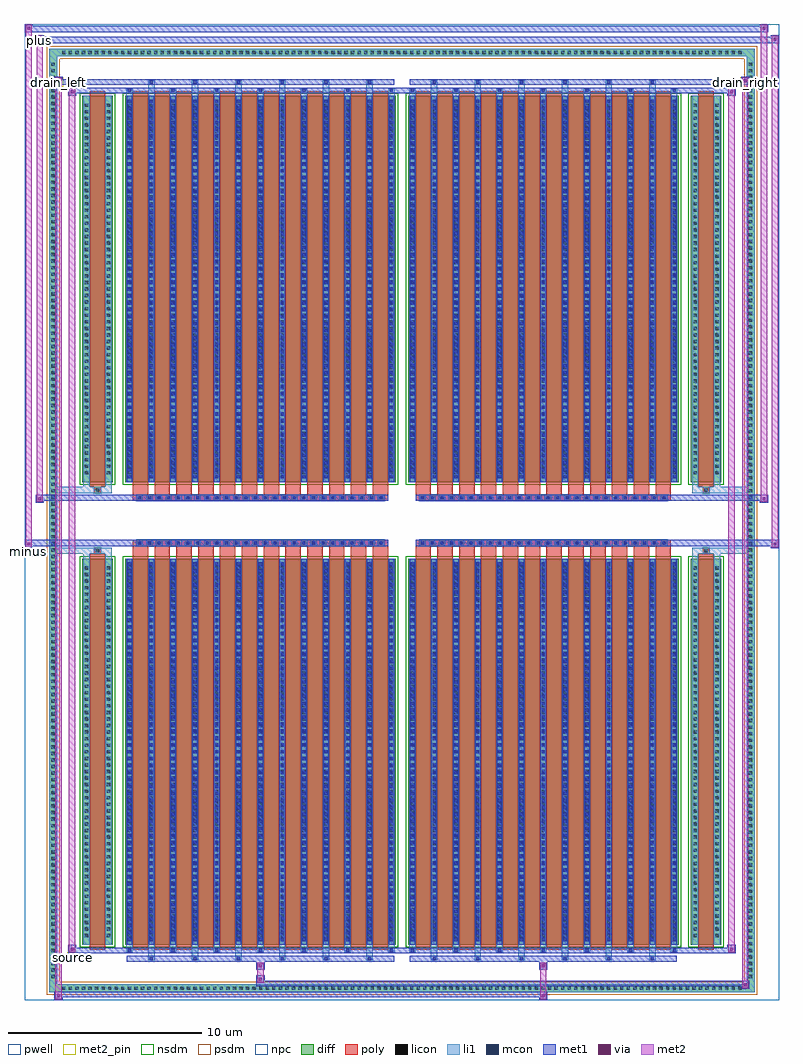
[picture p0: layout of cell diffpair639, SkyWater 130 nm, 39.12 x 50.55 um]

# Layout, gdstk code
import gdstk
lib = gdstk.Library(unit=1e-6, precision=5e-09)
def R(c, l, rs):  # rectangles x0, y0, x1, y1
    for r in rs: c.add(gdstk.rectangle(r[:2], r[2:], *l))
def A(c, l, x, y, w, h, nx, ny, dx, dy):  # array of equal rectangles
    R(c, l, [(x+i*dx, y+j*dy, x+i*dx+w, y+j*dy+h) for i in range(nx) for j in range(ny)])
def P(c, l, *ps):  # polygons
    for p in ps: c.add(gdstk.Polygon(p, *l))
pwell = (64, 44)
diff = (65, 20)
poly = (66, 20)
licon = (66, 44)
li1 = (67, 20)
mcon = (67, 44)
met1 = (68, 20)
via = (68, 44)
met2_pin = (69, 16)
met2 = (69, 20)
nsdm = (93, 44)
psdm = (94, 20)
npc = (95, 20)

diffpair639 = lib.new_cell('diffpair639')
R(diffpair639, pwell, [(-19.54,-24.84,19.54,25.71), (-16.86,-23.03,-0.01,-0.805), (0.01,-23.03,16.86,-0.805), (-16.86,0.805,-0.01,23.03), (0.01,0.805,16.86,23.03)])
A(diffpair639, diff, -17.715, -24.44, 0.41, 0.41, 104, 2, 0.34, 48.47)
A(diffpair639, diff, -18.27, -23.835, 0.41, 0.41, 1, 140, 0, 0.34)
A(diffpair639, diff, 17.86, -23.835, 0.41, 0.41, 1, 140, 0, 0.34)
R(diffpair639, diff, [(-17.715,-24.44,17.715,-24.03), (-18.27,-23.835,-17.86,23.835), (17.86,-23.835,18.27,23.835), (-16.55,-21.985,-14.97,-1.985), (-14.33,-21.985,-0.32,-1.985), (0.32,-21.985,14.33,-1.985), (14.97,-21.985,16.55,-1.985), (-16.55,1.985,-14.97,21.985), (-14.33,1.985,-0.32,21.985), (0.32,1.985,14.33,21.985), (14.97,1.985,16.55,21.985), (-17.715,24.03,17.715,24.44)])
P(diffpair639, diff, [(18.27,24.44),(-18.27,24.44),(-18.27,-24.03),(-17.86,-24.03),(-17.86,24.03),(17.86,24.03),(17.86,-24.03),(-17.86,-24.03),(-18.27,-24.03),(-18.27,-24.44),(18.27,-24.44)])
A(diffpair639, poly, -13.94, -22.235, 0.8, 20.5, 12, 2, 1.13, 23.97)
A(diffpair639, poly, 0.71, -22.235, 0.8, 20.5, 12, 2, 1.13, 23.97)
A(diffpair639, poly, -13.94, -1.735, 0.8, 0.4, 12, 2, 1.13, 3.07)
A(diffpair639, poly, 0.71, -1.735, 0.8, 0.4, 12, 2, 1.13, 3.07)
A(diffpair639, poly, -13.74, -1.335, 0.33, 0.33, 26, 2, 0.5, 2.34)
A(diffpair639, poly, 0.91, -1.335, 0.33, 0.33, 26, 2, 0.5, 2.34)
R(diffpair639, poly, [(-16.16,-22.235,-15.36,-1.735), (15.36,-22.235,16.16,-1.735), (-15.925,-1.735,-15.595,-1.405), (-15.925,-1.735,-15.595,-1.405), (15.595,-1.735,15.925,-1.405), (15.595,-1.735,15.925,-1.405), (-13.94,-1.335,-0.71,-1.005), (0.71,-1.335,13.94,-1.005), (-13.94,1.005,-0.71,1.335), (0.71,1.005,13.94,1.335), (-15.925,1.405,-15.595,1.735), (-15.925,1.405,-15.595,1.735), (15.595,1.405,15.925,1.735), (15.595,1.405,15.925,1.735), (-16.16,1.735,-15.36,22.235), (15.36,1.735,16.16,22.235)])
A(diffpair639, licon, -17.595, -24.32, 0.17, 0.17, 104, 2, 0.34, 48.47)
A(diffpair639, licon, -18.15, -23.715, 0.17, 0.17, 1, 140, 0, 0.34)
A(diffpair639, licon, 17.98, -23.715, 0.17, 0.17, 1, 140, 0, 0.34)
A(diffpair639, licon, -16.41, -21.59, 0.17, 0.17, 1, 57, 0, 0.34)
A(diffpair639, licon, -15.28, -21.59, 0.17, 0.17, 1, 57, 0, 0.34)
A(diffpair639, licon, -14.19, -21.59, 0.17, 0.17, 13, 57, 1.13, 0.34)
A(diffpair639, licon, 0.46, -21.59, 0.17, 0.17, 13, 57, 1.13, 0.34)
A(diffpair639, licon, 15.11, -21.59, 0.17, 0.17, 1, 57, 0, 0.34)
A(diffpair639, licon, 16.24, -21.59, 0.17, 0.17, 1, 57, 0, 0.34)
A(diffpair639, licon, -13.66, -1.255, 0.17, 0.17, 26, 2, 0.5, 2.34)
A(diffpair639, licon, 0.99, -1.255, 0.17, 0.17, 26, 2, 0.5, 2.34)
A(diffpair639, licon, -16.41, 2.38, 0.17, 0.17, 1, 57, 0, 0.34)
A(diffpair639, licon, -15.28, 2.38, 0.17, 0.17, 1, 57, 0, 0.34)
A(diffpair639, licon, -14.19, 2.38, 0.17, 0.17, 13, 57, 1.13, 0.34)
A(diffpair639, licon, 0.46, 2.38, 0.17, 0.17, 13, 57, 1.13, 0.34)
A(diffpair639, licon, 15.11, 2.38, 0.17, 0.17, 1, 57, 0, 0.34)
A(diffpair639, licon, 16.24, 2.38, 0.17, 0.17, 1, 57, 0, 0.34)
R(diffpair639, licon, [(-15.845,-1.655,-15.675,-1.485), (15.675,-1.655,15.845,-1.485), (-15.845,1.485,-15.675,1.655), (15.675,1.485,15.845,1.655)])
A(diffpair639, li1, -17.675, -24.4, 0.33, 0.33, 104, 2, 0.34, 48.47)
A(diffpair639, li1, -18.23, -23.795, 0.33, 0.33, 1, 140, 0, 0.34)
A(diffpair639, li1, 17.9, -23.795, 0.33, 0.33, 1, 140, 0, 0.34)
A(diffpair639, li1, -13.14, -22.79, 0.33, 0.805, 6, 2, 2.26, 44.775)
A(diffpair639, li1, -13.06, -22.79, 0.17, 0.17, 6, 2, 2.26, 45.41)
A(diffpair639, li1, 1.51, -22.79, 0.33, 0.805, 6, 2, 2.26, 44.775)
A(diffpair639, li1, 1.59, -22.79, 0.17, 0.17, 6, 2, 2.26, 45.41)
A(diffpair639, li1, -14.27, -22.36, 0.33, 0.375, 7, 2, 2.26, 44.345)
A(diffpair639, li1, -14.19, -22.36, 0.17, 0.17, 7, 2, 2.26, 44.55)
A(diffpair639, li1, 0.38, -22.36, 0.33, 0.375, 7, 2, 2.26, 44.345)
A(diffpair639, li1, 0.46, -22.36, 0.17, 0.17, 7, 2, 2.26, 44.55)
A(diffpair639, li1, -14.27, -21.985, 0.33, 20, 13, 2, 1.13, 23.97)
A(diffpair639, li1, 0.38, -21.985, 0.33, 20, 13, 2, 1.13, 23.97)
A(diffpair639, li1, -14.19, -21.79, 0.17, 0.17, 13, 55, 1.13, 0.36)
A(diffpair639, li1, -14.19, -21.79, 0.17, 19.61, 13, 2, 1.13, 23.97)
A(diffpair639, li1, 0.46, -21.79, 0.17, 0.17, 13, 55, 1.13, 0.36)
A(diffpair639, li1, 0.46, -21.79, 0.17, 19.61, 13, 2, 1.13, 23.97)
A(diffpair639, li1, -16.49, -21.67, 0.33, 0.33, 1, 57, 0, 0.34)
A(diffpair639, li1, -15.36, -21.67, 0.33, 0.33, 1, 57, 0, 0.34)
A(diffpair639, li1, -14.27, -21.67, 0.33, 0.33, 13, 57, 1.13, 0.34)
A(diffpair639, li1, 0.38, -21.67, 0.33, 0.33, 13, 57, 1.13, 0.34)
A(diffpair639, li1, 15.03, -21.67, 0.33, 0.33, 1, 57, 0, 0.34)
A(diffpair639, li1, 16.16, -21.67, 0.33, 0.33, 1, 57, 0, 0.34)
A(diffpair639, li1, -13.74, -1.335, 0.33, 0.33, 26, 2, 0.5, 2.34)
A(diffpair639, li1, 0.91, -1.335, 0.33, 0.33, 26, 2, 0.5, 2.34)
A(diffpair639, li1, -14.19, 2.18, 0.17, 0.17, 13, 55, 1.13, 0.36)
A(diffpair639, li1, 0.46, 2.18, 0.17, 0.17, 13, 55, 1.13, 0.36)
A(diffpair639, li1, -16.49, 2.3, 0.33, 0.33, 1, 57, 0, 0.34)
A(diffpair639, li1, -15.36, 2.3, 0.33, 0.33, 1, 57, 0, 0.34)
A(diffpair639, li1, -14.27, 2.3, 0.33, 0.33, 13, 57, 1.13, 0.34)
A(diffpair639, li1, 0.38, 2.3, 0.33, 0.33, 13, 57, 1.13, 0.34)
A(diffpair639, li1, 15.03, 2.3, 0.33, 0.33, 1, 57, 0, 0.34)
A(diffpair639, li1, 16.16, 2.3, 0.33, 0.33, 1, 57, 0, 0.34)
R(diffpair639, li1, [(-18.27,-24.44,-17.86,-24.03), (-18.27,-24.44,-17.86,-24.03), (-17.86,-24.44,17.86,-24.03), (17.86,-24.44,18.27,-24.03), (17.86,-24.44,18.27,-24.03), (-18.27,-24.03,-17.86,24.03), (17.86,-24.03,18.27,24.03), (-16.49,-21.985,-16.16,-1.985), (-15.36,-21.985,-15.03,-1.985), (15.03,-21.985,15.36,-1.985), (16.16,-21.985,16.49,-1.985), (-16.49,-1.985,-16.16,-1.405), (-15.36,-1.985,-15.03,-1.405), (15.03,-1.985,15.36,-1.405), (16.16,-1.985,16.49,-1.405), (-18.27,-1.735,-15.925,-1.405), (-16.49,-1.735,-15.925,-1.405), (-15.925,-1.735,-15.595,-1.405), (-15.595,-1.735,-15.03,-1.405), (15.03,-1.735,15.595,-1.405), (15.595,-1.735,15.925,-1.405), (15.595,-1.735,18.27,-1.405), (15.925,-1.735,16.49,-1.405), (-18.27,1.405,-15.925,1.735), (-16.49,1.405,-15.925,1.735), (-16.49,1.405,-16.16,1.985), (-15.925,1.405,-15.595,1.735), (-15.595,1.405,-15.03,1.735), (-15.36,1.405,-15.03,1.985), (15.03,1.405,15.595,1.735), (15.03,1.405,15.36,1.985), (15.595,1.405,15.925,1.735), (15.595,1.405,18.27,1.735), (15.925,1.405,16.49,1.735), (16.16,1.405,16.49,1.985), (-16.49,1.985,-16.16,21.985), (-15.36,1.985,-15.03,21.985), (15.03,1.985,15.36,21.985), (16.16,1.985,16.49,21.985), (-18.27,24.03,-17.86,24.44), (-18.27,24.03,-17.86,24.44), (-17.86,24.03,17.86,24.44), (17.86,24.03,18.27,24.44), (17.86,24.03,18.27,24.44)])
A(diffpair639, mcon, -13.06, -22.79, 0.17, 0.17, 6, 2, 2.26, 45.41)
A(diffpair639, mcon, 1.59, -22.79, 0.17, 0.17, 6, 2, 2.26, 45.41)
A(diffpair639, mcon, -14.19, -22.36, 0.17, 0.17, 7, 2, 2.26, 44.55)
A(diffpair639, mcon, 0.46, -22.36, 0.17, 0.17, 7, 2, 2.26, 44.55)
A(diffpair639, mcon, -14.19, -21.79, 0.17, 0.17, 13, 55, 1.13, 0.36)
A(diffpair639, mcon, 0.46, -21.79, 0.17, 0.17, 13, 55, 1.13, 0.36)
A(diffpair639, mcon, -13.66, -1.255, 0.17, 0.17, 26, 2, 0.5, 2.34)
A(diffpair639, mcon, 0.99, -1.255, 0.17, 0.17, 26, 2, 0.5, 2.34)
A(diffpair639, mcon, -14.19, 2.18, 0.17, 0.17, 13, 55, 1.13, 0.36)
A(diffpair639, mcon, 0.46, 2.18, 0.17, 0.17, 13, 55, 1.13, 0.36)
A(diffpair639, met1, -13.12, -22.85, 0.29, 0.29, 6, 2, 2.26, 45.41)
A(diffpair639, met1, 1.53, -22.85, 0.29, 0.29, 6, 2, 2.26, 45.41)
A(diffpair639, met1, -14.25, -22.42, 0.29, 0.29, 7, 2, 2.26, 44.55)
A(diffpair639, met1, 0.4, -22.42, 0.29, 0.29, 7, 2, 2.26, 44.55)
A(diffpair639, met1, -14.25, -21.985, 0.29, 20, 13, 2, 1.13, 23.97)
A(diffpair639, met1, 0.4, -21.985, 0.29, 20, 13, 2, 1.13, 23.97)
A(diffpair639, met1, -14.25, -21.85, 0.29, 0.29, 13, 55, 1.13, 0.36)
A(diffpair639, met1, 0.4, -21.85, 0.29, 0.29, 13, 55, 1.13, 0.36)
A(diffpair639, met1, -13.72, -1.315, 0.29, 0.29, 26, 2, 0.5, 2.34)
A(diffpair639, met1, 0.93, -1.315, 0.29, 0.29, 26, 2, 0.5, 2.34)
A(diffpair639, met1, -14.25, 2.12, 0.29, 0.29, 13, 55, 1.13, 0.36)
A(diffpair639, met1, 0.4, 2.12, 0.29, 0.29, 13, 55, 1.13, 0.36)
R(diffpair639, met1, [(-18,-24.84,-17.57,-24.41), (7.11,-24.84,7.54,-24.41), (-18,-24.7,7.54,-24.41), (17.57,-24.27,18,-23.84), (-7.54,-24.13,18,-23.84), (-7.54,-23.99,-7.11,-23.56), (-7.54,-23.28,-7.11,-22.85), (7.11,-23.28,7.54,-22.85), (-14.25,-22.85,-0.4,-22.56), (0.4,-22.85,14.25,-22.56), (-17.29,-22.42,-16.86,-21.99), (-17.29,-22.42,-14.25,-22.13), (-14.25,-22.42,-0.4,-22.13), (-0.4,-22.42,0.4,-22.13), (0.4,-22.42,14.25,-22.13), (14.25,-22.42,17.29,-22.13), (16.86,-22.42,17.29,-21.99), (-19.54,-1.435,-19.11,-1.005), (19.11,-1.435,19.54,-1.005), (-19.54,-1.335,-0.71,-1.005), (-13.94,-1.335,-0.71,-1.005), (0.71,-1.335,13.94,-1.005), (0.71,-1.335,19.54,-1.005), (-18.97,0.905,-18.54,1.335), (18.54,0.905,18.97,1.335), (-18.97,1.005,-13.94,1.335), (-13.94,1.005,-0.71,1.335), (0.71,1.005,13.94,1.335), (13.94,1.005,18.97,1.335), (-17.29,21.99,-16.86,22.42), (16.86,21.99,17.29,22.42), (-17.29,22.13,-14.25,22.42), (-14.25,22.13,-0.4,22.42), (-0.4,22.13,0.4,22.42), (0.4,22.13,14.25,22.42), (14.25,22.13,17.29,22.42), (-18,22.56,-17.57,22.99), (-18,22.56,-14.25,22.85), (-14.25,22.56,-0.4,22.85), (0.4,22.56,14.25,22.85), (14.25,22.56,18,22.85), (17.57,22.56,18,22.99), (-18.97,24.71,-18.54,25.14), (-18.97,24.71,-16.86,25.04), (-16.86,24.71,16.86,25.04), (16.86,24.71,19.54,25.04), (19.11,24.71,19.54,25.14), (-19.54,25.28,-19.11,25.71), (-19.54,25.28,-16.86,25.61), (-16.86,25.28,16.86,25.61), (16.86,25.28,18.97,25.61), (18.54,25.28,18.97,25.71)])
R(diffpair639, via, [(-17.86,-24.7,-17.71,-24.55), (7.25,-24.7,7.4,-24.55), (17.71,-24.13,17.86,-23.98), (-7.4,-23.85,-7.25,-23.7), (-7.4,-23.14,-7.25,-22.99), (7.25,-23.14,7.4,-22.99), (-17.15,-22.28,-17,-22.13), (17,-22.28,17.15,-22.13), (-19.4,-1.295,-19.25,-1.145), (19.25,-1.295,19.4,-1.145), (-18.83,1.045,-18.68,1.195), (18.68,1.045,18.83,1.195), (-17.15,22.13,-17,22.28), (17,22.13,17.15,22.28), (-17.86,22.7,-17.71,22.85), (17.71,22.7,17.86,22.85), (-18.83,24.85,-18.68,25), (19.25,24.85,19.4,25), (-19.4,25.42,-19.25,25.57), (18.68,25.42,18.83,25.57)])
R(diffpair639, met2_pin, [(-17.325,-22.87,-16.825,-22.37), (-19.575,-1.885,-19.075,-1.385), (-18.035,22.44,-17.535,22.94), (17.535,22.44,18.035,22.94), (-19.005,24.59,-18.505,25.09)])
R(diffpair639, met2, [(-17.95,-24.79,-17.62,-24.46), (-17.95,-24.79,-17.62,22.94), (7.16,-24.79,7.49,-24.46), (7.16,-24.46,7.49,-23.23), (17.62,-24.22,17.95,-23.89), (17.62,-24.22,17.95,22.94), (-7.49,-23.94,-7.16,-23.61), (-7.49,-23.61,-7.16,-23.23), (-7.49,-23.23,-7.16,-22.9), (7.16,-23.23,7.49,-22.9), (-17.24,-22.37,-16.91,-22.04), (-17.24,-22.37,-16.91,22.37), (16.91,-22.37,17.24,-22.04), (16.91,-22.37,17.24,22.37), (-19.49,-1.385,-19.16,-1.055), (-19.49,-1.385,-19.16,25.66), (19.16,-1.385,19.49,-1.055), (19.16,-1.385,19.49,25.09), (-18.92,0.955,-18.59,1.285), (-18.92,0.955,-18.59,25.09), (18.59,0.955,18.92,1.285), (18.59,0.955,18.92,25.66), (-17.24,22.04,-16.91,22.37), (16.91,22.04,17.24,22.37), (-17.95,22.61,-17.62,22.94), (17.62,22.61,17.95,22.94), (-18.92,24.76,-18.59,25.09), (19.16,24.76,19.49,25.09), (-19.49,25.33,-19.16,25.66), (18.59,25.33,18.92,25.66)])
P(diffpair639, met2, [(19.49,-1.385),(19.49,-1.385),(19.49,-1.055),(19.49,-1.055)],
  [(19.49,24.76),(19.49,24.76),(19.49,25.09),(19.49,25.09)],
  [(-19.16,-1.385),(-19.16,-1.385),(-19.16,-1.055),(-19.16,-1.055)],
  [(-19.16,25.33),(-19.16,25.33),(-19.16,25.66),(-19.16,25.66)],
  [(18.92,0.955),(18.92,0.955),(18.92,1.285),(18.92,1.285)],
  [(18.92,25.33),(18.92,25.33),(18.92,25.66),(18.92,25.66)],
  [(-18.59,0.955),(-18.59,0.955),(-18.59,1.285),(-18.59,1.285)],
  [(-18.59,24.76),(-18.59,24.76),(-18.59,25.09),(-18.59,25.09)],
  [(-17.62,-24.79),(-17.62,-24.79),(-17.62,-24.46),(-17.62,-24.46)],
  [(-17.62,22.61),(-17.62,22.61),(-17.62,22.94),(-17.62,22.94)],
  [(17.95,-24.22),(17.95,-24.22),(17.95,-23.89),(17.95,-23.89)],
  [(17.95,22.61),(17.95,22.61),(17.95,22.94),(17.95,22.94)],
  [(-16.91,-22.37),(-16.91,-22.37),(-16.91,-22.04),(-16.91,-22.04)],
  [(-16.91,22.04),(-16.91,22.04),(-16.91,22.37),(-16.91,22.37)],
  [(17.24,-22.37),(17.24,-22.37),(17.24,-22.04),(17.24,-22.04)],
  [(17.24,22.04),(17.24,22.04),(17.24,22.37),(17.24,22.37)])
R(diffpair639, nsdm, [(-16.68,-22.115,-14.84,-1.855), (-14.46,-22.115,-0.19,-1.855), (0.19,-22.115,14.46,-1.855), (14.84,-22.115,16.68,-1.855), (-16.68,1.855,-14.84,22.115), (-14.46,1.855,-0.19,22.115), (0.19,1.855,14.46,22.115), (14.84,1.855,16.68,22.115)])
P(diffpair639, psdm, [(18.4,24.57),(-18.4,24.57),(-18.4,-23.9),(-17.73,-23.9),(-17.73,23.9),(17.73,23.9),(17.73,-23.9),(-17.73,-23.9),(-18.4,-23.9),(-18.4,-24.57),(18.4,-24.57)])
A(diffpair639, npc, -13.76, -1.355, 0.37, 0.37, 26, 2, 0.5, 2.34)
A(diffpair639, npc, 0.89, -1.355, 0.37, 0.37, 26, 2, 0.5, 2.34)
R(diffpair639, npc, [(-15.945,-1.755,-15.575,-1.385), (15.575,-1.755,15.945,-1.385), (-13.76,-1.355,-12.89,-0.985), (-13.76,-1.355,-12.89,-0.985), (-13.26,-1.355,-12.39,-0.985), (-13.26,-1.355,-12.39,-0.985), (-12.76,-1.355,-11.89,-0.985), (-12.76,-1.355,-11.89,-0.985), (-12.26,-1.355,-11.39,-0.985), (-12.26,-1.355,-11.39,-0.985), (-11.76,-1.355,-10.89,-0.985), (-11.76,-1.355,-10.89,-0.985), (-11.26,-1.355,-10.39,-0.985), (-11.26,-1.355,-10.39,-0.985), (-10.76,-1.355,-9.89,-0.985), (-10.76,-1.355,-9.89,-0.985), (-10.26,-1.355,-9.39,-0.985), (-10.26,-1.355,-9.39,-0.985), (-9.76,-1.355,-8.89,-0.985), (-9.76,-1.355,-8.89,-0.985), (-9.26,-1.355,-8.39,-0.985), (-9.26,-1.355,-8.39,-0.985), (-8.76,-1.355,-7.89,-0.985), (-8.76,-1.355,-7.89,-0.985), (-8.26,-1.355,-7.39,-0.985), (-8.26,-1.355,-7.39,-0.985), (-7.76,-1.355,-6.89,-0.985), (-7.76,-1.355,-6.89,-0.985), (-7.26,-1.355,-6.39,-0.985), (-7.26,-1.355,-6.39,-0.985), (-6.76,-1.355,-5.89,-0.985), (-6.76,-1.355,-5.89,-0.985), (-6.26,-1.355,-5.39,-0.985), (-6.26,-1.355,-5.39,-0.985), (-5.76,-1.355,-4.89,-0.985), (-5.76,-1.355,-4.89,-0.985), (-5.26,-1.355,-4.39,-0.985), (-5.26,-1.355,-4.39,-0.985), (-4.76,-1.355,-3.89,-0.985), (-4.76,-1.355,-3.89,-0.985), (-4.26,-1.355,-3.39,-0.985), (-4.26,-1.355,-3.39,-0.985), (-3.76,-1.355,-2.89,-0.985), (-3.76,-1.355,-2.89,-0.985), (-3.26,-1.355,-2.39,-0.985), (-3.26,-1.355,-2.39,-0.985), (-2.76,-1.355,-1.89,-0.985), (-2.76,-1.355,-1.89,-0.985), (-2.26,-1.355,-1.39,-0.985), (-2.26,-1.355,-1.39,-0.985), (-1.76,-1.355,-0.89,-0.985), (-1.76,-1.355,-0.89,-0.985), (0.89,-1.355,1.76,-0.985), (0.89,-1.355,1.76,-0.985), (1.39,-1.355,2.26,-0.985), (1.39,-1.355,2.26,-0.985), (1.89,-1.355,2.76,-0.985), (1.89,-1.355,2.76,-0.985), (2.39,-1.355,3.26,-0.985), (2.39,-1.355,3.26,-0.985), (2.89,-1.355,3.76,-0.985), (2.89,-1.355,3.76,-0.985), (3.39,-1.355,4.26,-0.985), (3.39,-1.355,4.26,-0.985), (3.89,-1.355,4.76,-0.985), (3.89,-1.355,4.76,-0.985), (4.39,-1.355,5.26,-0.985), (4.39,-1.355,5.26,-0.985), (4.89,-1.355,5.76,-0.985), (4.89,-1.355,5.76,-0.985), (5.39,-1.355,6.26,-0.985), (5.39,-1.355,6.26,-0.985), (5.89,-1.355,6.76,-0.985), (5.89,-1.355,6.76,-0.985), (6.39,-1.355,7.26,-0.985), (6.39,-1.355,7.26,-0.985), (6.89,-1.355,7.76,-0.985), (6.89,-1.355,7.76,-0.985), (7.39,-1.355,8.26,-0.985), (7.39,-1.355,8.26,-0.985), (7.89,-1.355,8.76,-0.985), (7.89,-1.355,8.76,-0.985), (8.39,-1.355,9.26,-0.985), (8.39,-1.355,9.26,-0.985), (8.89,-1.355,9.76,-0.985), (8.89,-1.355,9.76,-0.985), (9.39,-1.355,10.26,-0.985), (9.39,-1.355,10.26,-0.985), (9.89,-1.355,10.76,-0.985), (9.89,-1.355,10.76,-0.985), (10.39,-1.355,11.26,-0.985), (10.39,-1.355,11.26,-0.985), (10.89,-1.355,11.76,-0.985), (10.89,-1.355,11.76,-0.985), (11.39,-1.355,12.26,-0.985), (11.39,-1.355,12.26,-0.985), (11.89,-1.355,12.76,-0.985), (11.89,-1.355,12.76,-0.985), (12.39,-1.355,13.26,-0.985), (12.39,-1.355,13.26,-0.985), (12.89,-1.355,13.76,-0.985), (12.89,-1.355,13.76,-0.985), (-13.76,0.985,-12.89,1.355), (-13.76,0.985,-12.89,1.355), (-13.26,0.985,-12.39,1.355), (-13.26,0.985,-12.39,1.355), (-12.76,0.985,-11.89,1.355), (-12.76,0.985,-11.89,1.355), (-12.26,0.985,-11.39,1.355), (-12.26,0.985,-11.39,1.355), (-11.76,0.985,-10.89,1.355), (-11.76,0.985,-10.89,1.355), (-11.26,0.985,-10.39,1.355), (-11.26,0.985,-10.39,1.355), (-10.76,0.985,-9.89,1.355), (-10.76,0.985,-9.89,1.355), (-10.26,0.985,-9.39,1.355), (-10.26,0.985,-9.39,1.355), (-9.76,0.985,-8.89,1.355), (-9.76,0.985,-8.89,1.355), (-9.26,0.985,-8.39,1.355), (-9.26,0.985,-8.39,1.355), (-8.76,0.985,-7.89,1.355), (-8.76,0.985,-7.89,1.355), (-8.26,0.985,-7.39,1.355), (-8.26,0.985,-7.39,1.355), (-7.76,0.985,-6.89,1.355), (-7.76,0.985,-6.89,1.355), (-7.26,0.985,-6.39,1.355), (-7.26,0.985,-6.39,1.355), (-6.76,0.985,-5.89,1.355), (-6.76,0.985,-5.89,1.355), (-6.26,0.985,-5.39,1.355), (-6.26,0.985,-5.39,1.355), (-5.76,0.985,-4.89,1.355), (-5.76,0.985,-4.89,1.355), (-5.26,0.985,-4.39,1.355), (-5.26,0.985,-4.39,1.355), (-4.76,0.985,-3.89,1.355), (-4.76,0.985,-3.89,1.355), (-4.26,0.985,-3.39,1.355), (-4.26,0.985,-3.39,1.355), (-3.76,0.985,-2.89,1.355), (-3.76,0.985,-2.89,1.355), (-3.26,0.985,-2.39,1.355), (-3.26,0.985,-2.39,1.355), (-2.76,0.985,-1.89,1.355), (-2.76,0.985,-1.89,1.355), (-2.26,0.985,-1.39,1.355), (-2.26,0.985,-1.39,1.355), (-1.76,0.985,-0.89,1.355), (-1.76,0.985,-0.89,1.355), (0.89,0.985,1.76,1.355), (0.89,0.985,1.76,1.355), (1.39,0.985,2.26,1.355), (1.39,0.985,2.26,1.355), (1.89,0.985,2.76,1.355), (1.89,0.985,2.76,1.355), (2.39,0.985,3.26,1.355), (2.39,0.985,3.26,1.355), (2.89,0.985,3.76,1.355), (2.89,0.985,3.76,1.355), (3.39,0.985,4.26,1.355), (3.39,0.985,4.26,1.355), (3.89,0.985,4.76,1.355), (3.89,0.985,4.76,1.355), (4.39,0.985,5.26,1.355), (4.39,0.985,5.26,1.355), (4.89,0.985,5.76,1.355), (4.89,0.985,5.76,1.355), (5.39,0.985,6.26,1.355), (5.39,0.985,6.26,1.355), (5.89,0.985,6.76,1.355), (5.89,0.985,6.76,1.355), (6.39,0.985,7.26,1.355), (6.39,0.985,7.26,1.355), (6.89,0.985,7.76,1.355), (6.89,0.985,7.76,1.355), (7.39,0.985,8.26,1.355), (7.39,0.985,8.26,1.355), (7.89,0.985,8.76,1.355), (7.89,0.985,8.76,1.355), (8.39,0.985,9.26,1.355), (8.39,0.985,9.26,1.355), (8.89,0.985,9.76,1.355), (8.89,0.985,9.76,1.355), (9.39,0.985,10.26,1.355), (9.39,0.985,10.26,1.355), (9.89,0.985,10.76,1.355), (9.89,0.985,10.76,1.355), (10.39,0.985,11.26,1.355), (10.39,0.985,11.26,1.355), (10.89,0.985,11.76,1.355), (10.89,0.985,11.76,1.355), (11.39,0.985,12.26,1.355), (11.39,0.985,12.26,1.355), (11.89,0.985,12.76,1.355), (11.89,0.985,12.76,1.355), (12.39,0.985,13.26,1.355), (12.39,0.985,13.26,1.355), (12.89,0.985,13.76,1.355), (12.89,0.985,13.76,1.355), (-15.945,1.385,-15.575,1.755), (15.575,1.385,15.945,1.755)])
diffpair639.add(gdstk.Label('minus', (-19.325,-1.635), layer=69, texttype=5))
diffpair639.add(gdstk.Label('drain_right', (17.785,22.69), layer=69, texttype=5))
diffpair639.add(gdstk.Label('drain_left', (-17.785,22.69), layer=69, texttype=5))
diffpair639.add(gdstk.Label('source', (-17.075,-22.62), layer=69, texttype=5))
diffpair639.add(gdstk.Label('plus', (-18.755,24.84), layer=69, texttype=5))

lib.write_gds('diffpair639.gds')
